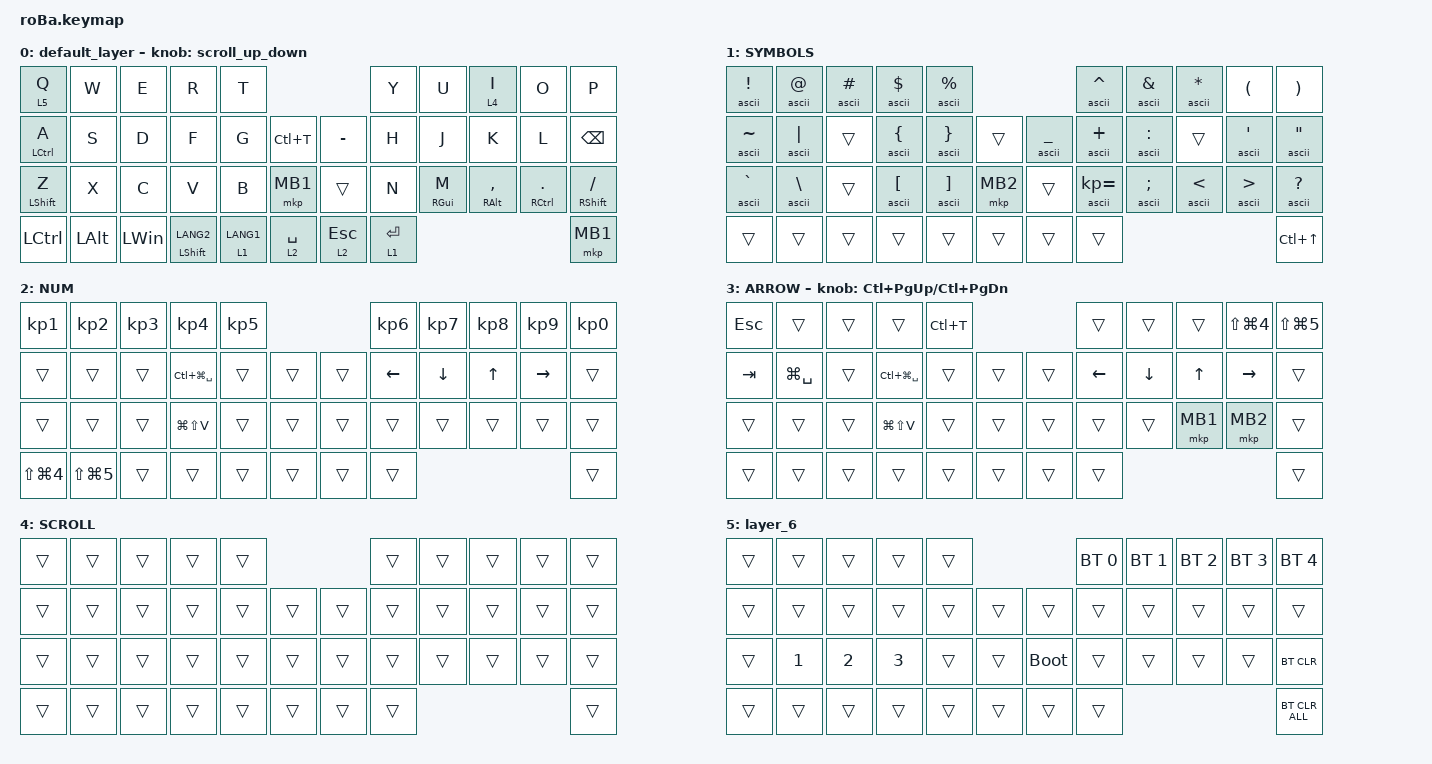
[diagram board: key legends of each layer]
#include <behaviors.dtsi>
#include <dt-bindings/zmk/bt.h>
#include <dt-bindings/zmk/keys.h>
#include <dt-bindings/zmk/pointing.h>

#undef ZMK_POINTING_DEFAULT_SCRL_VAL

#define ZMK_POINTING_DEFAULT_SCRL_VAL 100
#define EXPOSE  LC(UP)      // mission control (aka expose)

&mt {
    flavor = "balanced";
    tapping-term-ms = <200>;
    quick-tap-ms = <0>;
};

&trackball {
    // automouse-layer = <4>;

    scroll-layers = <4>;

    // arrows {
    //     layers = <3>;
    //     bindings =
    //         <&kp RIGHT_ARROW>,
    //         <&kp LEFT_ARROW>,
    //         <&kp UP_ARROW>,
    //         <&kp DOWN_ARROW>;
    //     tick = <10>;
    //     wait-ms = <5>;
    //     tap-ms = <5>;
    // };
};

/ {
    combos {
        compatible = "zmk,combos";

        tab {
            bindings = <&kp LS(TAB)>;
            key-positions = <11 12>;
        };

        shift_tab {
            bindings = <&kp TAB>;
            key-positions = <12 13>;
        };

        double_quotation {
            bindings = <&kp SEMI>;
            key-positions = <20 21>;
        };

        eq {
            bindings = <&kp EQUAL>;
            key-positions = <8 9>;
        };

        right_brace {
            bindings = <&kp RIGHT_BRACE>;
            key-positions = <7 8>;
        };

        left_brace {
            bindings = <&kp LEFT_BRACE>;
            key-positions = <6 7>;
        };

        right_bracket {
            bindings = <&kp RIGHT_BRACKET>;
            key-positions = <31 32>;
        };

        left_bracket {
            bindings = <&kp LEFT_BRACKET>;
            key-positions = <31 30>;
        };

        left_parenthesis {
            bindings = <&kp LEFT_PARENTHESIS>;
            key-positions = <18 19>;
        };

        right_parenthesis {
            bindings = <&kp RIGHT_PARENTHESIS>;
            key-positions = <19 20>;
        };

        minus {
            bindings = <&kp MINUS>;
            key-positions = <32 33>;
        };
    };

    macros {
        to_layer_0: to_layer_0 {
            compatible = "zmk,behavior-macro-one-param";
            #binding-cells = <1>;
            bindings = <&to 0 &macro_param_1to1 &kp MACRO_PLACEHOLDER>;
            label = "TO_LAYER_0";
        };

        ime_toggle: ime_toggle {
            compatible = "zmk,behavior-macro";
            #binding-cells = <0>;
            bindings =
                <&macro_press>,
                <&kp LCTRL>,
                <&macro_tap>,
                <&kp SPACE>,
                <&macro_release>,
                <&kp LCTRL>;
        };

        ascii: ascii {
            compatible = "zmk,behavior-macro-one-param";
            #binding-cells = <1>;
            bindings =
                <&kp LANG2>,
                <&macro_wait_time 30>,
                <&macro_param_1to1 &kp MACRO_PLACEHOLDER>;
        };
    };

    behaviors {
        lt_to_layer_0: lt_to_layer_0 {
            compatible = "zmk,behavior-hold-tap";
            label = "LAYER_TAP_TO_0";
            bindings = <&mo>, <&to_layer_0>;

            #binding-cells = <2>;
            tapping-term-ms = <200>;
        };

        scroll_up_down: behavior_sensor_rotate_mouse_wheel_up_down {
            compatible = "zmk,behavior-sensor-rotate";
            #sensor-binding-cells = <0>;
            bindings = <&msc SCRL_DOWN>, <&msc SCRL_UP>;

            // 追加: スクロールのタップ時間を設定 (20ms)

            tap-ms = <20>;
        };

        multi_tap_tab_bspc: behavior_multi_tap {
            label = "MT_TAB_BSPC";
            #binding-cells = <0>;
            bindings = <&kp TAB>, <&kp BSPC>;

            max-taps = <2>;
            max-tap-interrupt-ms = <250>;
        };

        sft_ime: shift_ime_toggle {
            compatible = "zmk,behavior-hold-tap";
            label = "SHIFT_IME_TOGGLE";
            #binding-cells = <2>;
            flavor = "tap-preferred";
            tapping-term-ms = <200>;
            quick-tap-ms = <125>;
            bindings = <&kp>, <&ime_toggle>;
        };

        layer_mouse_ht: layer_mouse_hold_tap {
            compatible = "zmk,behavior-hold-tap";
            #binding-cells = <2>;
            flavor = "tap-preferred";        // タップ優先。ホールド長押ししてから判断
            tapping-term-ms = <200>;         // タップとホールドの切り替え時間
            bindings = <&mo>, <&mkp>;

            // ホールド時：レイヤー１有効、タップ時：左クリック
        };
    };

    keymap {
        compatible = "zmk,keymap";

        default_layer {
            bindings = <
&lt 5 Q           &kp W         &kp E         &kp R                 &kp T                                                                     &kp Y                   &kp U            &lt 4 I              &kp O          &kp P
&mt LCTRL A       &kp S         &kp D         &kp F                 &kp G                   &kp LC(T)                   &kp MINUS             &kp H                   &kp J            &kp K                &kp L          &kp BACKSPACE
&mt LEFT_SHIFT Z  &kp X         &kp C         &kp V                 &kp B                   &mkp MB1                    &trans                &kp N                   &mt RIGHT_GUI M  &mt RIGHT_ALT COMMA  &mt RCTRL DOT  &mt RIGHT_SHIFT SLASH
&kp LCTRL         &kp LEFT_ALT  &kp LEFT_WIN  &mt LEFT_SHIFT LANG2  &lt_to_layer_0 1 LANG1  &lt_to_layer_0 2 SPACE      &lt_to_layer_0 2 ESC  &lt_to_layer_0 1 ENTER                                                       &mkp MB1
            >;

            sensor-bindings = <&scroll_up_down>;
        };

        SYMBOLS {
            bindings = <
&ascii EXCLAMATION  &ascii AT         &ascii HASH  &ascii DOLLAR        &ascii PERCENT                                    &ascii CARET     &ascii AMPERSAND  &ascii ASTRK      &kp LEFT_PARENTHESIS  &kp RIGHT_PARENTHESIS
&ascii TILDE        &ascii PIPE       &trans       &ascii LEFT_BRACE    &ascii RIGHT_BRACE    &trans        &ascii UNDER  &ascii PLUS      &ascii COLON      &trans            &ascii SINGLE_QUOTE   &ascii DOUBLE_QUOTES
&ascii GRAVE        &ascii BACKSLASH  &trans       &ascii LEFT_BRACKET  &ascii RIGHT_BRACKET  &mkp MB2      &trans        &ascii KP_EQUAL  &ascii SEMICOLON  &ascii LESS_THAN  &ascii GT             &ascii QUESTION
&trans              &trans            &trans       &trans               &trans                &trans        &trans        &trans                                                                     &kp EXPOSE
            >;
        };

        NUM {
            bindings = <
&kp KP_NUMBER_1       &kp KP_NUMBER_2       &kp KP_NUMBER_3  &kp KP_NUMBER_4    &kp KP_NUMBER_5                      &kp KP_NUMBER_6  &kp KP_NUMBER_7  &kp KP_NUMBER_8  &kp KP_NUMBER_9  &kp KP_NUMBER_0
&trans                &trans                &trans           &kp LC(LG(SPACE))  &trans           &trans      &trans  &kp LEFT         &kp DOWN         &kp UP           &kp RIGHT        &trans
&trans                &trans                &trans           &kp LG(LS(V))      &trans           &trans      &trans  &trans           &trans           &trans           &trans           &trans
&kp LS(LG(NUMBER_4))  &kp LS(LG(NUMBER_5))  &trans           &trans             &trans           &trans      &trans  &trans                                                              &trans
            >;
        };

        ARROW {
            bindings = <
&kp ESCAPE  &trans         &trans  &trans             &kp LC(T)                      &trans          &trans    &trans        &kp LS(LG(NUMBER_4))  &kp LS(LG(NUMBER_5))
&kp TAB     &kp LG(SPACE)  &trans  &kp LC(LG(SPACE))  &trans     &trans      &trans  &kp LEFT_ARROW  &kp DOWN  &kp UP_ARROW  &kp RIGHT_ARROW       &trans
&trans      &trans         &trans  &kp LG(LS(V))      &trans     &trans      &trans  &trans          &trans    &mkp MB1      &mkp MB2              &trans
&trans      &trans         &trans  &trans             &trans     &trans      &trans  &trans                                                        &trans
            >;

            sensor-bindings = <&inc_dec_kp LC(PAGE_UP) LC(PAGE_DOWN)>;
        };

        SCROLL {
            bindings = <
&trans  &trans  &trans  &trans  &trans                      &trans  &trans  &trans  &trans  &trans
&trans  &trans  &trans  &trans  &trans  &trans      &trans  &trans  &trans  &trans  &trans  &trans
&trans  &trans  &trans  &trans  &trans  &trans      &trans  &trans  &trans  &trans  &trans  &trans
&trans  &trans  &trans  &trans  &trans  &trans      &trans  &trans                          &trans
            >;
        };

        layer_6 {
            bindings = <
&trans  &trans        &trans        &trans        &trans                           &bt BT_SEL 0  &bt BT_SEL 1  &bt BT_SEL 2  &bt BT_SEL 3  &bt BT_SEL 4
&trans  &trans        &trans        &trans        &trans  &trans      &trans       &trans        &trans        &trans        &trans        &trans
&trans  &kp NUMBER_1  &kp NUMBER_2  &kp NUMBER_3  &trans  &trans      &bootloader  &trans        &trans        &trans        &trans        &bt BT_CLR
&trans  &trans        &trans        &trans        &trans  &trans      &trans       &trans                                                  &bt BT_CLR_ALL
            >;
        };
    };
};
